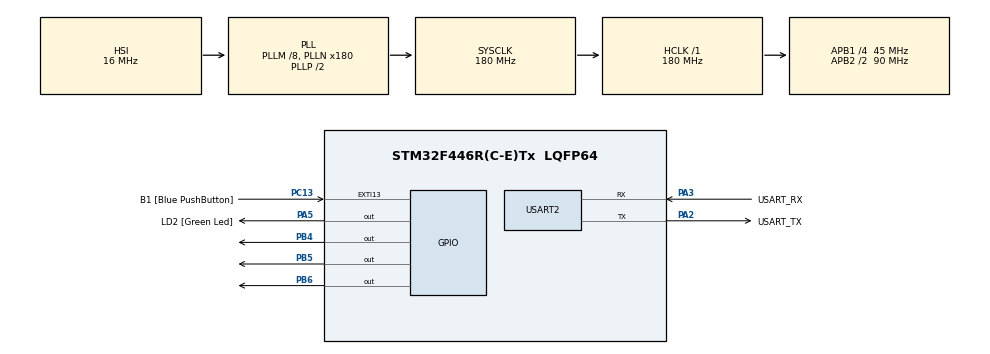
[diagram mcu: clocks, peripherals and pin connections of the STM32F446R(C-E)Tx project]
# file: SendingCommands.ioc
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Mcu.Family=STM32F4
Mcu.Name=STM32F446R(C-E)Tx
Mcu.Package=LQFP64
NVIC.PriorityGroup=NVIC_PRIORITYGROUP_4
NVIC.TIM6_DAC_IRQn=true\:15\:0\:false\:false\:true\:false\:true\:true
NVIC.TimeBase=TIM6_DAC_IRQn
NVIC.TimeBaseIP=TIM6
NVIC.USART2_IRQn=true\:6\:0\:true\:false\:true\:true\:true\:true
PA13.GPIO_Label=TMS
PA13.Signal=SYS_JTMS-SWDIO
PA14.GPIO_Label=TCK
PA14.Signal=SYS_JTCK-SWCLK
PA2.GPIO_Label=USART_TX
PA2.Mode=Asynchronous
PA2.Signal=USART2_TX
PA3.GPIO_Label=USART_RX
PA3.Mode=Asynchronous
PA3.Signal=USART2_RX
PA5.GPIO_Label=LD2 [Green Led]
PA5.Signal=GPIO_Output
PB3.GPIO_Label=SWO
PB3.Signal=SYS_JTDO-SWO
PB4.GPIO_PuPd=GPIO_PULLUP
PB4.Signal=GPIO_Output
PB5.GPIO_PuPd=GPIO_PULLUP
PB5.Signal=GPIO_Output
PB6.GPIO_PuPd=GPIO_PULLUP
PB6.Signal=GPIO_Output
PC13.GPIO_Label=B1 [Blue PushButton]
PC13.GPIO_ModeDefaultEXTI=GPIO_MODE_IT_FALLING
PC13.Signal=GPXTI13
PC14-OSC32_IN.Signal=RCC_OSC32_IN
PC15-OSC32_OUT.Signal=RCC_OSC32_OUT
PH0-OSC_IN.Signal=RCC_OSC_IN
PH1-OSC_OUT.Signal=RCC_OSC_OUT
ProjectManager.HeapSize=0x200
ProjectManager.StackSize=0x400
ProjectManager.TargetToolchain=STM32CubeIDE
RCC.AHBFreq_Value=180000000
RCC.APB1CLKDivider=RCC_HCLK_DIV4
RCC.APB1Freq_Value=45000000
RCC.APB1TimFreq_Value=90000000
RCC.APB2CLKDivider=RCC_HCLK_DIV2
RCC.APB2Freq_Value=90000000
RCC.APB2TimFreq_Value=180000000
RCC.CortexFreq_Value=180000000
RCC.FLatency-AdvancedSettings=FLASH_LATENCY_5
RCC.HCLKFreq_Value=180000000
RCC.HSE_VALUE=8000000
RCC.HSI_VALUE=16000000
RCC.LSE_VALUE=32768
RCC.PLLM=8
RCC.PLLN=180
RCC.SYSCLKFreq_VALUE=180000000
RCC.SYSCLKSource=RCC_SYSCLKSOURCE_PLLCLK
RCC.USBFreq_Value=180000000
RCC.VCOOutputFreq_Value=360000000
RTC.HourFormat=RTC_HOURFORMAT_12
USART2.VirtualMode=VM_ASYNC
VP_RTC_VS_RTC_Activate.Mode=RTC_Enabled
VP_SYS_VS_tim6.Mode=TIM6
board=NUCLEO-F446RE

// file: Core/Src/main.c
/* USER CODE BEGIN Header */
/**
  ******************************************************************************
  * @file           : main.c
  * @brief          : Main program body
  ******************************************************************************
  * @attention
  *
  * Copyright (c) 2025 STMicroelectronics.
  * All rights reserved.
  *
  * This software is licensed under terms that can be found in the LICENSE file
  * in the root directory of this software component.
  * If no LICENSE file comes with this software, it is provided AS-IS.
  *
  ******************************************************************************
  */
/* USER CODE END Header */
#include "main.h"

RTC_HandleTypeDef hrtc;

UART_HandleTypeDef huart2;

/* USER CODE BEGIN PV */
xTaskHandle handle_cmd_task;
xTaskHandle handle_menu_task;
xTaskHandle handle_print_task;
xTaskHandle handle_led_task;
xTaskHandle handle_rtc_task;

QueueHandle_t q_data;
QueueHandle_t q_print;

volatile uint8_t user_data;

//initial state
state_t curr_state = sMainMenu;

/* USER CODE END PV */

void SystemClock_Config(void);
static void MX_GPIO_Init(void);
static void MX_RTC_Init(void);
static void MX_USART2_UART_Init(void);

int main(void)
{
  /* USER CODE BEGIN 1 */
	BaseType_t status;
  /* USER CODE END 1 */

  /* MCU Configuration--------------------------------------------------------*/

  /* Reset of all peripherals, Initializes the Flash interface and the Systick. */
  HAL_Init();

  /* Configure the system clock */
  SystemClock_Config();

  /* Initialize all configured peripherals */
  MX_GPIO_Init();
  MX_RTC_Init();
  MX_USART2_UART_Init();
  /* USER CODE BEGIN 2 */
	status = xTaskCreate(menu_task, "menu_task", 250, NULL, 2, &handle_menu_task);

	configASSERT(status == pdPASS);

	status = xTaskCreate(cmd_handler_task, "cmd_task", 250, NULL, 2, &handle_cmd_task);

	configASSERT(status == pdPASS);

	status = xTaskCreate(print_task, "print_task", 250, NULL, 2, &handle_print_task);

	configASSERT(status == pdPASS);

	status = xTaskCreate(led_task, "led_task", 250, NULL, 2, &handle_led_task);

	configASSERT(status == pdPASS);

	status = xTaskCreate(rtc_task, "rtc_task", 250, NULL, 2, &handle_rtc_task);

	configASSERT(status == pdPASS);

	q_data = xQueueCreate (10, sizeof(char));

	configASSERT(q_data != NULL);

	q_print = xQueueCreate (10, sizeof(size_t));

	configASSERT(q_print != NULL);

	// Start UART reception in interrupt mode
		HAL_UART_Receive_IT(&huart2, (uint8_t*)&user_data, 1);

	vTaskStartScheduler();
  /* USER CODE END 2 */

  /* Infinite loop */
  while (1)
  {

  }
}

void SystemClock_Config(void)
{
  RCC_OscInitTypeDef RCC_OscInitStruct = {0};
  RCC_ClkInitTypeDef RCC_ClkInitStruct = {0};

  /** Configure the main internal regulator output voltage
  */
  __HAL_RCC_PWR_CLK_ENABLE();
  __HAL_PWR_VOLTAGESCALING_CONFIG(PWR_REGULATOR_VOLTAGE_SCALE1);

  /** Initializes the RCC Oscillators according to the specified parameters
  * in the RCC_OscInitTypeDef structure.
  */
  RCC_OscInitStruct.OscillatorType = RCC_OSCILLATORTYPE_HSI|RCC_OSCILLATORTYPE_LSI;
  RCC_OscInitStruct.LSEState = RCC_LSE_OFF;
  RCC_OscInitStruct.HSIState = RCC_HSI_ON;
  RCC_OscInitStruct.HSICalibrationValue = RCC_HSICALIBRATION_DEFAULT;
  RCC_OscInitStruct.LSIState = RCC_LSI_ON;
  RCC_OscInitStruct.PLL.PLLState = RCC_PLL_ON;
  RCC_OscInitStruct.PLL.PLLSource = RCC_PLLSOURCE_HSI;
  RCC_OscInitStruct.PLL.PLLM = 8;
  RCC_OscInitStruct.PLL.PLLN = 180;
  RCC_OscInitStruct.PLL.PLLP = RCC_PLLP_DIV2;
  RCC_OscInitStruct.PLL.PLLQ = 2;
  RCC_OscInitStruct.PLL.PLLR = 2;
  if (HAL_RCC_OscConfig(&RCC_OscInitStruct) != HAL_OK)
  {
    Error_Handler();
  }

  /** Activate the Over-Drive mode
  */
  if (HAL_PWREx_EnableOverDrive() != HAL_OK)
  {
    Error_Handler();
  }

  /** Initializes the CPU, AHB and APB buses clocks
  */
  RCC_ClkInitStruct.ClockType = RCC_CLOCKTYPE_HCLK|RCC_CLOCKTYPE_SYSCLK
                              |RCC_CLOCKTYPE_PCLK1|RCC_CLOCKTYPE_PCLK2;
  RCC_ClkInitStruct.SYSCLKSource = RCC_SYSCLKSOURCE_PLLCLK;
  RCC_ClkInitStruct.AHBCLKDivider = RCC_SYSCLK_DIV1;
  RCC_ClkInitStruct.APB1CLKDivider = RCC_HCLK_DIV4;
  RCC_ClkInitStruct.APB2CLKDivider = RCC_HCLK_DIV2;

  if (HAL_RCC_ClockConfig(&RCC_ClkInitStruct, FLASH_LATENCY_5) != HAL_OK)
  {
    Error_Handler();
  }
}

static void MX_RTC_Init(void)
{

  /** Initialize RTC Only
  */
  hrtc.Instance = RTC;
  hrtc.Init.HourFormat = RTC_HOURFORMAT_12;
  hrtc.Init.AsynchPrediv = 127;
  hrtc.Init.SynchPrediv = 255;
  hrtc.Init.OutPut = RTC_OUTPUT_DISABLE;
  hrtc.Init.OutPutPolarity = RTC_OUTPUT_POLARITY_HIGH;
  hrtc.Init.OutPutType = RTC_OUTPUT_TYPE_OPENDRAIN;
  if (HAL_RTC_Init(&hrtc) != HAL_OK)
  {
    Error_Handler();
  }

}

static void MX_USART2_UART_Init(void)
{

  huart2.Instance = USART2;
  huart2.Init.BaudRate = 115200;
  huart2.Init.WordLength = UART_WORDLENGTH_8B;
  huart2.Init.StopBits = UART_STOPBITS_1;
  huart2.Init.Parity = UART_PARITY_NONE;
  huart2.Init.Mode = UART_MODE_TX_RX;
  huart2.Init.HwFlowCtl = UART_HWCONTROL_NONE;
  huart2.Init.OverSampling = UART_OVERSAMPLING_16;
  if (HAL_UART_Init(&huart2) != HAL_OK)
  {
    Error_Handler();
  }

}

static void MX_GPIO_Init(void)
{
  GPIO_InitTypeDef GPIO_InitStruct = {0};

  /* GPIO Ports Clock Enable */
  __HAL_RCC_GPIOC_CLK_ENABLE();
  __HAL_RCC_GPIOH_CLK_ENABLE();
  __HAL_RCC_GPIOA_CLK_ENABLE();
  __HAL_RCC_GPIOB_CLK_ENABLE();

  /*Configure GPIO pin Output Level */
  HAL_GPIO_WritePin(LD2_GPIO_Port, LD2_Pin, GPIO_PIN_RESET);

  /*Configure GPIO pin Output Level */
  HAL_GPIO_WritePin(GPIOB, GPIO_PIN_4|GPIO_PIN_5|GPIO_PIN_6, GPIO_PIN_RESET);

  /*Configure GPIO pin : B1_Pin */
  GPIO_InitStruct.Pin = B1_Pin;
  GPIO_InitStruct.Mode = GPIO_MODE_IT_FALLING;
  GPIO_InitStruct.Pull = GPIO_NOPULL;
  HAL_GPIO_Init(B1_GPIO_Port, &GPIO_InitStruct);

  /*Configure GPIO pin : LD2_Pin */
  GPIO_InitStruct.Pin = LD2_Pin;
  GPIO_InitStruct.Mode = GPIO_MODE_OUTPUT_PP;
  GPIO_InitStruct.Pull = GPIO_NOPULL;
  GPIO_InitStruct.Speed = GPIO_SPEED_FREQ_LOW;
  HAL_GPIO_Init(LD2_GPIO_Port, &GPIO_InitStruct);

  /*Configure GPIO pins : PB4 PB5 PB6 */
  GPIO_InitStruct.Pin = GPIO_PIN_4|GPIO_PIN_5|GPIO_PIN_6;
  GPIO_InitStruct.Mode = GPIO_MODE_OUTPUT_PP;
  GPIO_InitStruct.Pull = GPIO_PULLUP;
  GPIO_InitStruct.Speed = GPIO_SPEED_FREQ_LOW;
  HAL_GPIO_Init(GPIOB, &GPIO_InitStruct);

}

/* USER CODE BEGIN 4 */
/* This function called from UART interrupt handler , hence executes in interrupt context */
void HAL_UART_RxCpltCallback(UART_HandleTypeDef *huart)
{
	uint8_t dummy;

	for(uint32_t i = 0 ; i < 4000 ; i++);

	if(! xQueueIsQueueFullFromISR(q_data))
	{
		/*Enqueue data byte */
		xQueueSendFromISR(q_data , (void*)&user_data , NULL);
	}else{
		if(user_data == '\n')
		{
			/*Make sure that last data byte of the queue is '\n' */
			xQueueReceiveFromISR(q_data,(void*)&dummy,NULL);
			xQueueSendFromISR(q_data ,(void*)&user_data , NULL);
		}
	}

	/*Send notification to command handling task if user_data = '\n' */
	if( user_data == '\n' ){
		/*send notification to command handling task */
		xTaskNotifyFromISR (handle_cmd_task,0,eNoAction,NULL);
	}

	/* Enable UART data byte reception again in IT mode */
	 HAL_UART_Receive_IT(&huart2, (uint8_t*)&user_data, 1);
}
/* USER CODE END 4 */

void HAL_TIM_PeriodElapsedCallback(TIM_HandleTypeDef *htim)
{
  if (htim->Instance == TIM6) {
    HAL_IncTick();
  }
}

void Error_Handler(void)
{
  __disable_irq();
  while (1)
  {
  }
}
